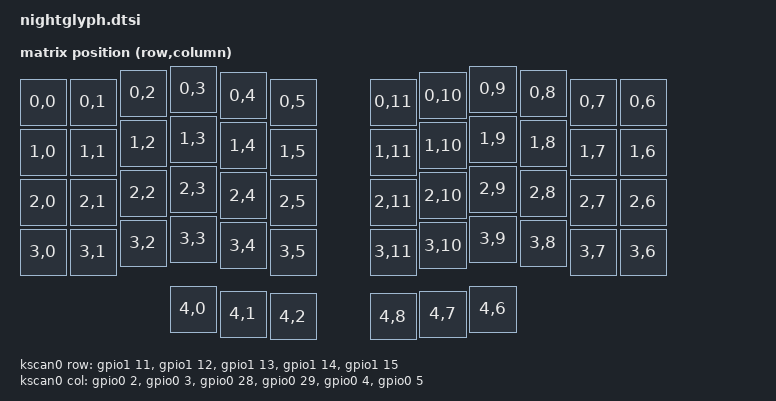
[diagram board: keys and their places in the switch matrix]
#include <dt-bindings/zmk/matrix_transform.h>
#include <dt-bindings/gpio/gpio.h>
#include <physical_layouts.dtsi>

/ {
    chosen {
        zmk,kscan = &kscan0;
        zmk,physical-layout = &physical_layout0;
    };

    /*
     * 合体マトリクス変換（ZMK Studio対応）
     * 左=列0-5、右=列6-11。右側overlayで col-offset=6 を付ける。
     * 右半分は物理列が反転（COL5=内側→列6側、COL0=外側→列11側）なので
     * 右側のマップを RC(r,11)→RC(r,6) の逆順で記述して整合。
     */
    default_transform: keymap_transform_0 {
        compatible = "zmk,matrix-transform";
        columns = <12>;
        rows = <5>;
        map = <
            RC(0,0) RC(0,1) RC(0,2) RC(0,3) RC(0,4) RC(0,5)   RC(0,11) RC(0,10) RC(0,9) RC(0,8) RC(0,7) RC(0,6)
            RC(1,0) RC(1,1) RC(1,2) RC(1,3) RC(1,4) RC(1,5)   RC(1,11) RC(1,10) RC(1,9) RC(1,8) RC(1,7) RC(1,6)
            RC(2,0) RC(2,1) RC(2,2) RC(2,3) RC(2,4) RC(2,5)   RC(2,11) RC(2,10) RC(2,9) RC(2,8) RC(2,7) RC(2,6)
            RC(3,0) RC(3,1) RC(3,2) RC(3,3) RC(3,4) RC(3,5)   RC(3,11) RC(3,10) RC(3,9) RC(3,8) RC(3,7) RC(3,6)
            RC(4,0) RC(4,1) RC(4,2)                           RC(4,8)  RC(4,7)  RC(4,6)
        >;
    };

    physical_layout0: physical_layout_0 {
        compatible = "zmk,physical-layout";
        display-name = "NightGlyph";
        transform = <&default_transform>;
        kscan = <&kscan0>;

        keys  /* w h x y rot rx ry (centi-units) */
            = <&key_physical_attrs 100 100    0   26 0 0 0>
            , <&key_physical_attrs 100 100  100   26 0 0 0>
            , <&key_physical_attrs 100 100  200    8 0 0 0>
            , <&key_physical_attrs 100 100  300    0 0 0 0>
            , <&key_physical_attrs 100 100  400   13 0 0 0>
            , <&key_physical_attrs 100 100  500   26 0 0 0>
            , <&key_physical_attrs 100 100  700   26 0 0 0>
            , <&key_physical_attrs 100 100  800   13 0 0 0>
            , <&key_physical_attrs 100 100  900    0 0 0 0>
            , <&key_physical_attrs 100 100 1000    8 0 0 0>
            , <&key_physical_attrs 100 100 1100   26 0 0 0>
            , <&key_physical_attrs 100 100 1200   26 0 0 0>

            , <&key_physical_attrs 100 100    0  126 0 0 0>
            , <&key_physical_attrs 100 100  100  126 0 0 0>
            , <&key_physical_attrs 100 100  200  108 0 0 0>
            , <&key_physical_attrs 100 100  300  100 0 0 0>
            , <&key_physical_attrs 100 100  400  113 0 0 0>
            , <&key_physical_attrs 100 100  500  126 0 0 0>
            , <&key_physical_attrs 100 100  700  126 0 0 0>
            , <&key_physical_attrs 100 100  800  113 0 0 0>
            , <&key_physical_attrs 100 100  900  100 0 0 0>
            , <&key_physical_attrs 100 100 1000  108 0 0 0>
            , <&key_physical_attrs 100 100 1100  126 0 0 0>
            , <&key_physical_attrs 100 100 1200  126 0 0 0>

            , <&key_physical_attrs 100 100    0  226 0 0 0>
            , <&key_physical_attrs 100 100  100  226 0 0 0>
            , <&key_physical_attrs 100 100  200  208 0 0 0>
            , <&key_physical_attrs 100 100  300  200 0 0 0>
            , <&key_physical_attrs 100 100  400  213 0 0 0>
            , <&key_physical_attrs 100 100  500  226 0 0 0>
            , <&key_physical_attrs 100 100  700  226 0 0 0>
            , <&key_physical_attrs 100 100  800  213 0 0 0>
            , <&key_physical_attrs 100 100  900  200 0 0 0>
            , <&key_physical_attrs 100 100 1000  208 0 0 0>
            , <&key_physical_attrs 100 100 1100  226 0 0 0>
            , <&key_physical_attrs 100 100 1200  226 0 0 0>

            , <&key_physical_attrs 100 100    0  326 0 0 0>
            , <&key_physical_attrs 100 100  100  326 0 0 0>
            , <&key_physical_attrs 100 100  200  308 0 0 0>
            , <&key_physical_attrs 100 100  300  300 0 0 0>
            , <&key_physical_attrs 100 100  400  313 0 0 0>
            , <&key_physical_attrs 100 100  500  326 0 0 0>
            , <&key_physical_attrs 100 100  700  326 0 0 0>
            , <&key_physical_attrs 100 100  800  313 0 0 0>
            , <&key_physical_attrs 100 100  900  300 0 0 0>
            , <&key_physical_attrs 100 100 1000  308 0 0 0>
            , <&key_physical_attrs 100 100 1100  326 0 0 0>
            , <&key_physical_attrs 100 100 1200  326 0 0 0>

            , <&key_physical_attrs 100 100  300  440 0 0 0>
            , <&key_physical_attrs 100 100  400  450 0 0 0>
            , <&key_physical_attrs 100 100  500  455 0 0 0>
            , <&key_physical_attrs 100 100  700  455 0 0 0>
            , <&key_physical_attrs 100 100  800  450 0 0 0>
            , <&key_physical_attrs 100 100  900  440 0 0 0>
            ;
    };

    kscan0: kscan {
        compatible = "zmk,kscan-gpio-matrix";
        diode-direction = "col2row";

        col-gpios
            = <&gpio0  2 GPIO_ACTIVE_HIGH>   /* COL0: P0.02 */
            , <&gpio0  3 GPIO_ACTIVE_HIGH>   /* COL1: P0.03 */
            , <&gpio0 28 GPIO_ACTIVE_HIGH>   /* COL2: P0.28 */
            , <&gpio0 29 GPIO_ACTIVE_HIGH>   /* COL3: P0.29 */
            , <&gpio0  4 GPIO_ACTIVE_HIGH>   /* COL4: P0.04 */
            , <&gpio0  5 GPIO_ACTIVE_HIGH>   /* COL5: P0.05 */
            ;

        row-gpios
            = <&gpio1 11 (GPIO_ACTIVE_HIGH | GPIO_PULL_DOWN)>   /* ROW0: P1.11 */
            , <&gpio1 12 (GPIO_ACTIVE_HIGH | GPIO_PULL_DOWN)>   /* ROW1: P1.12 */
            , <&gpio1 13 (GPIO_ACTIVE_HIGH | GPIO_PULL_DOWN)>   /* ROW2: P1.13 */
            , <&gpio1 14 (GPIO_ACTIVE_HIGH | GPIO_PULL_DOWN)>   /* ROW3: P1.14 */
            , <&gpio1 15 (GPIO_ACTIVE_HIGH | GPIO_PULL_DOWN)>   /* ROW4: P1.15 */
            ;
    };
};

/*
 * 外付けQSPIフラッシュ(P25Q16H)を無効化。
 * このチップはディープパワーダウンからの復帰がQSPIドライバのバグで失敗し、
 * 「スリープから復帰しない」＆「スリープ電流が大きく電池を食う」原因になる。
 * ZMKは内蔵フラッシュだけで動作する（設定/ペアリング保存も内蔵側）ため、無効化して問題なし。
 */
&qspi {
    status = "disabled";
};
